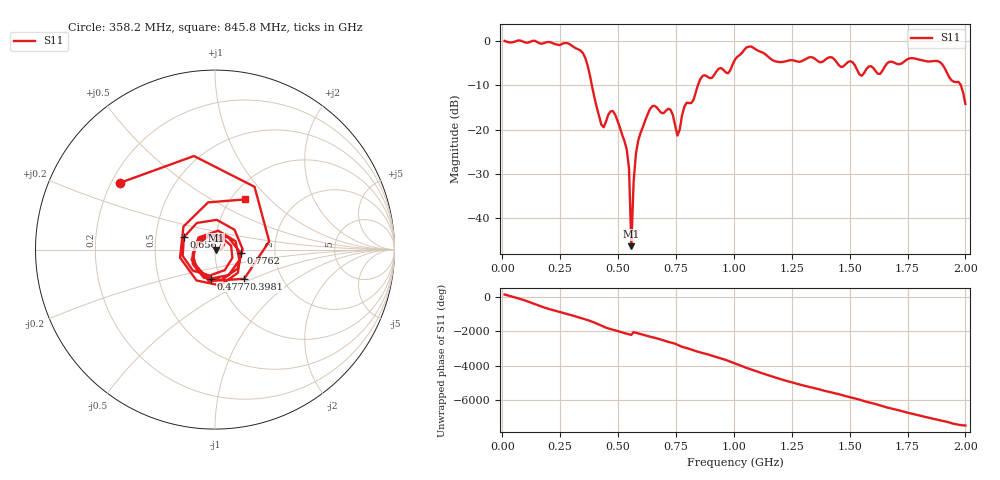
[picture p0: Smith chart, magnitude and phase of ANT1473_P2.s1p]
!Created with skrf (http://scikit-rf.org).
# Hz S RI R 50.0
!freq ReS11 ImS11
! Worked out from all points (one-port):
!   201 points, 10 MHz to 2 GHz, reference 50 ohm
!   lowest |S11| = -46.3 dB at 557.2 MHz (marker M1), VSWR 1.01, Z = 50.4 - j0.277 ohm
!   |S11| at or under -10 dB: 387 MHz to 844.6 MHz (457.6 MHz wide, 74.3 % of centre); 1.981 GHz to end of sweep
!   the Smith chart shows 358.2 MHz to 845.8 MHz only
!   S11 on the Smith chart (normalised r, x): 358.2 MHz: 0.23, +0.30; 398.1 MHz: 1.30, -0.45; 477.6 MHz: 0.91, -0.30; 656.8 MHz: 0.70, +0.10; 776.1 MHz: 1.33, -0.05; 845.8 MHz: 1.15, +0.72
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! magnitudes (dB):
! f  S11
! 10 MHz  0.1
! 258.8 MHz  -0.6
! 358.2 MHz  -3.8
! 398.1 MHz  -12.8
! 437.9 MHz  -19.4
! 477.6 MHz  -15.8
! 507.5 MHz  -19.4
! 537.4 MHz  -24.4
! 547.3 MHz  -28.8
! 557.2 MHz  -46.3
! 567.2 MHz  -31.7
! 577.1 MHz  -25.4
! 617 MHz  -17.9
! 656.8 MHz  -14.6
! 726.4 MHz  -15.5
! 756.2 MHz  -21.3
! 776.1 MHz  -16.8
! 845.8 MHz  -9.8
! 975.1 MHz  -7.3
! 1.005 GHz  -4.1
! 1.075 GHz  -1.2
! 1.254 GHz  -4.3
! 1.502 GHz  -4.5
! 1.552 GHz  -7.8
! 1.751 GHz  -4.0
! 1.891 GHz  -4.7
! 1.98 GHz  -9.9
! 2 GHz  -14.2
